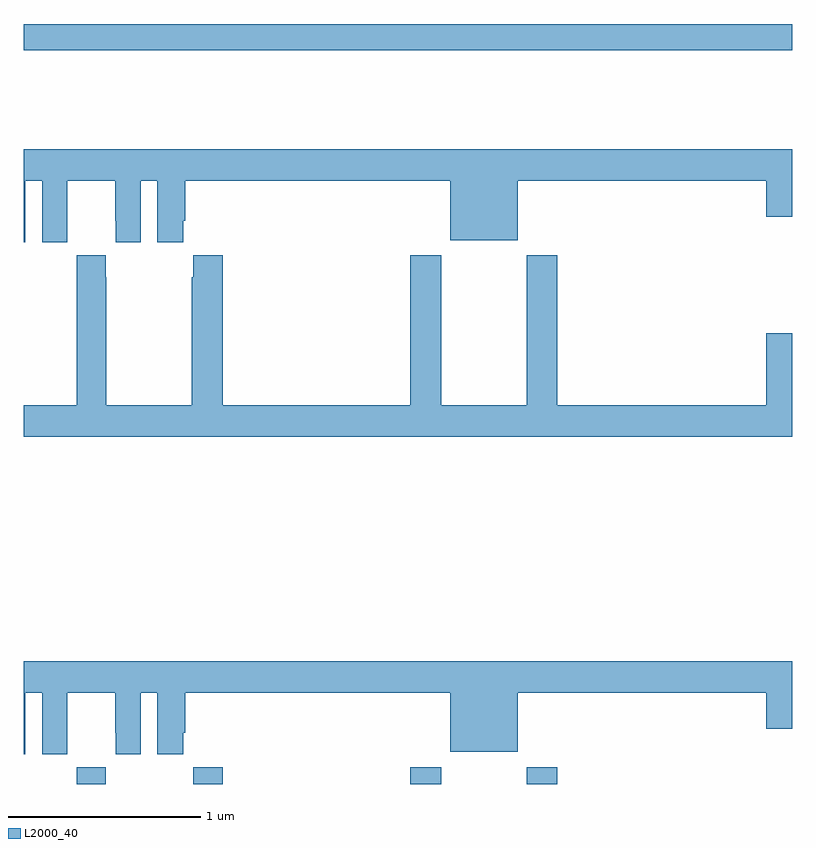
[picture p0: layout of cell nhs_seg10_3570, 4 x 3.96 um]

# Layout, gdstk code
import gdstk
lib = gdstk.Library(unit=1e-6, precision=1e-09)
def R(c, l, rs):  # rectangles x0, y0, x1, y1
    for r in rs: c.add(gdstk.rectangle(r[:2], r[2:], *l))
def P(c, l, *ps):  # polygons
    for p in ps: c.add(gdstk.Polygon(p, *l))
L2000_40 = (2000, 40)

nhs_seg10_3570 = lib.new_cell('nhs_seg10_3570')
R(nhs_seg10_3570, L2000_40, [(305.277,1306.5,305.427,1306.588), (305.881,1306.5,306.035,1306.588), (307.013,1306.5,307.173,1306.588), (307.618,1306.5,307.778,1306.588), (305,1310.32,309,1310.456)])
P(nhs_seg10_3570, L2000_40, [(305.008,1309.64),(305.096,1309.64),(305.096,1309.32),(305.226,1309.32),(305.226,1309.432),(305.227,1309.432),(305.227,1309.64),(305.477,1309.64),(305.477,1309.432),(305.478,1309.432),(305.478,1309.32),(305.608,1309.32),(305.608,1309.64),(305.696,1309.64),(305.696,1309.32),(305.83,1309.32),(305.83,1309.432),(305.84,1309.432),(305.84,1309.64),(307.22,1309.64),(307.22,1309.331),(307.57,1309.331),(307.57,1309.64),(308.864,1309.64),(308.864,1309.452),(309,1309.452),(309,1309.804),(305,1309.804),(305,1309.32),(305.008,1309.32)],
  [(305.427,1309.139),(305.427,1309.252),(305.277,1309.252),(305.277,1309.139),(305.275,1309.139),(305.275,1308.472),(305,1308.472),(305,1308.308),(309,1308.308),(309,1308.847),(308.864,1308.847),(308.864,1308.472),(307.778,1308.472),(307.778,1309.252),(307.618,1309.252),(307.618,1308.472),(307.173,1308.472),(307.173,1309.252),(307.013,1309.252),(307.013,1308.472),(306.035,1308.472),(306.035,1309.252),(305.881,1309.252),(305.881,1309.139),(305.875,1309.139),(305.875,1308.472),(305.43,1308.472),(305.43,1309.139)],
  [(305,1306.656),(305.008,1306.656),(305.008,1306.976),(305.096,1306.976),(305.096,1306.656),(305.226,1306.656),(305.226,1306.768),(305.227,1306.768),(305.227,1306.976),(305.477,1306.976),(305.477,1306.768),(305.478,1306.768),(305.478,1306.656),(305.608,1306.656),(305.608,1306.976),(305.696,1306.976),(305.696,1306.656),(305.83,1306.656),(305.83,1306.768),(305.84,1306.768),(305.84,1306.976),(307.22,1306.976),(307.22,1306.667),(307.57,1306.667),(307.57,1306.976),(308.864,1306.976),(308.864,1306.788),(309,1306.788),(309,1307.14),(305,1307.14)])

lib.write_gds('nhs_seg10_3570.gds')
